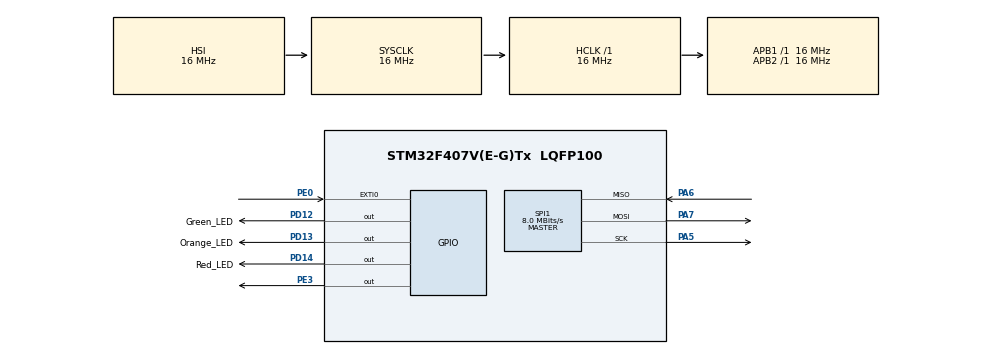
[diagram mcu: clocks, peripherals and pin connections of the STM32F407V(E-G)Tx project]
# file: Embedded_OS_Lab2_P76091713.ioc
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Mcu.Family=STM32F4
Mcu.Name=STM32F407V(E-G)Tx
Mcu.Package=LQFP100
NVIC.EXTI0_IRQn=true\:6\:0\:true\:false\:true\:true\:true
NVIC.PriorityGroup=NVIC_PRIORITYGROUP_4
NVIC.TIM6_DAC_IRQn=true\:0\:0\:false\:false\:true\:false\:true
NVIC.TimeBase=TIM6_DAC_IRQn
NVIC.TimeBaseIP=TIM6
PA13.Mode=Serial_Wire
PA13.Signal=SYS_JTMS-SWDIO
PA14.Mode=Serial_Wire
PA14.Signal=SYS_JTCK-SWCLK
PA5.Mode=Full_Duplex_Master
PA5.Signal=SPI1_SCK
PA6.Mode=Full_Duplex_Master
PA6.Signal=SPI1_MISO
PA7.Mode=Full_Duplex_Master
PA7.Signal=SPI1_MOSI
PD12.GPIO_Label=Green_LED
PD12.Signal=GPIO_Output
PD13.GPIO_Label=Orange_LED
PD13.Signal=GPIO_Output
PD14.GPIO_Label=Red_LED
PD14.Signal=GPIO_Output
PE0.Signal=GPXTI0
PE3.Signal=GPIO_Output
ProjectManager.HeapSize=0x200
ProjectManager.StackSize=0x400
ProjectManager.TargetToolchain=STM32CubeIDE
RCC.AHBFreq_Value=16000000
RCC.APB1Freq_Value=16000000
RCC.APB2Freq_Value=16000000
RCC.CortexFreq_Value=16000000
RCC.HSE_VALUE=25000000
RCC.HSI_VALUE=16000000
RCC.LSE_VALUE=32768
RCC.SYSCLKFreq_VALUE=16000000
RCC.VCOOutputFreq_Value=192000000
SPI1.CalculateBaudRate=8.0 MBits/s
SPI1.Direction=SPI_DIRECTION_2LINES
SPI1.Mode=SPI_MODE_MASTER
SPI1.VirtualType=VM_MASTER
VP_SYS_VS_tim6.Mode=TIM6
board=custom

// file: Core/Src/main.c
/* USER CODE BEGIN Header */
/**
  ******************************************************************************
  * @file           : main.c
  * @brief          : Main program body
  ******************************************************************************
  * @attention
  *
  * <h2><center>&copy; Copyright (c) 2021 STMicroelectronics.
  * All rights reserved.</center></h2>
  *
  * This software component is licensed by ST under BSD 3-Clause license,
  * the "License"; You may not use this file except in compliance with the
  * License. You may obtain a copy of the License at:
  *                        opensource.org/licenses/BSD-3-Clause
  *
  ******************************************************************************
  */
/* USER CODE END Header */
#include "main.h"

/* USER CODE BEGIN Includes */
#include "FreeRTOS.h"
#include "FreeRTOSConfig.h"
#include "task.h"
#include "semphr.h"
/* USER CODE END Includes */

/* USER CODE BEGIN PM */
#define LIS3DSH_WHO_AM_I_ADDR                0x0F
#define LIS3DSH_STAT_ADDR                    0x18
#define LIS3DSH_CTRL_REG4_ADDR               0x20
#define LIS3DSH_CTRL_REG1_ADDR               0x21
#define LIS3DSH_CTRL_REG2_ADDR               0x22
#define LIS3DSH_CTRL_REG3_ADDR               0x23
#define LIS3DSH_CTRL_REG5_ADDR               0x24
#define LIS3DSH_CTRL_REG6_ADDR               0x25

#define LIS3DSH_STATUS_ADDR                  0x27

#define LIS3DSH_OUT_X_L_ADDR                 0x28
#define LIS3DSH_OUT_X_H_ADDR                 0x29
#define LIS3DSH_OUT_Y_L_ADDR                 0x2A
#define LIS3DSH_OUT_Y_H_ADDR                 0x2B
#define LIS3DSH_OUT_Z_L_ADDR                 0x2C
#define LIS3DSH_OUT_Z_H_ADDR                 0x2D

#define LIS3DSH_ST1_1_ADDR                   0x40
#define LIS3DSH_ST1_2_ADDR                   0x41
#define LIS3DSH_THRS1_1_ADDR                 0x57
#define LIS3DSH_MASK1_B_ADDR                 0x59
#define LIS3DSH_MASK1_A_ADDR                 0x5A
#define LIS3DSH_SETT1_ADDR                   0x5B
/* USER CODE END PM */

SPI_HandleTypeDef hspi1;

/* USER CODE BEGIN PV */
SemaphoreHandle_t xSemaphore;
/* USER CODE END PV */

void SystemClock_Config(void);
static void MX_GPIO_Init(void);
static void MX_SPI1_Init(void);
/* USER CODE BEGIN PFP */
void GreenTask();
void OrangeTask();
/* USER CODE END PFP */

/* USER CODE BEGIN 0 */
void MEMS_Write(uint8_t addr, uint8_t data) {
	HAL_GPIO_WritePin(GPIOE, GPIO_PIN_3, GPIO_PIN_RESET);
	HAL_SPI_Transmit(&hspi1, &addr, 1, 10);
	HAL_SPI_Transmit(&hspi1, &data, 1, 10);
	HAL_GPIO_WritePin(GPIOE, GPIO_PIN_3, GPIO_PIN_SET);
	return;
}

void MEMS_Read(uint8_t addr, uint8_t *data) {
	addr |= 0x80;
	HAL_GPIO_WritePin(GPIOE, GPIO_PIN_3, GPIO_PIN_RESET);
	HAL_SPI_Transmit(&hspi1, &addr, 1, 10);
	HAL_SPI_Receive(&hspi1, data, 1, 10);
	HAL_GPIO_WritePin(GPIOE, GPIO_PIN_3, GPIO_PIN_SET);
	return;
}

void MEMS_Init() {
	MEMS_Write(LIS3DSH_CTRL_REG1_ADDR, 0x01);
	MEMS_Write(LIS3DSH_CTRL_REG3_ADDR, 0x48);
	MEMS_Write(LIS3DSH_CTRL_REG4_ADDR, 0x67);
	MEMS_Write(LIS3DSH_CTRL_REG5_ADDR, 0x00);
	MEMS_Write(LIS3DSH_THRS1_1_ADDR, 0x55);
	MEMS_Write(LIS3DSH_ST1_1_ADDR, 0x05);
	MEMS_Write(LIS3DSH_ST1_2_ADDR, 0x11);
	MEMS_Write(LIS3DSH_MASK1_B_ADDR, 0xFC);
	MEMS_Write(LIS3DSH_MASK1_A_ADDR, 0xFC);
	MEMS_Write(LIS3DSH_SETT1_ADDR, 0x01);
	return;
}
/* USER CODE END 0 */

int main(void)
{

  /* MCU Configuration--------------------------------------------------------*/

  /* Reset of all peripherals, Initializes the Flash interface and the Systick. */
  HAL_Init();

  /* Configure the system clock */
  SystemClock_Config();

  /* Initialize all configured peripherals */
  MX_GPIO_Init();
  MX_SPI1_Init();
  /* USER CODE BEGIN 2 */
  MEMS_Init();
  xSemaphore = xSemaphoreCreateBinary();
  xTaskCreate(GreenTask, "GreenTask", 1024, (void *)1, 1, NULL);
  xTaskCreate(OrangeTask, "OrangeTask", 1024, (void *)1, 2, NULL);
  vTaskStartScheduler();
  /* USER CODE END 2 */

  /* Infinite loop */
  while (1)
  {

  }
}

void SystemClock_Config(void)
{
  RCC_OscInitTypeDef RCC_OscInitStruct = {0};
  RCC_ClkInitTypeDef RCC_ClkInitStruct = {0};

  /** Configure the main internal regulator output voltage
  */
  __HAL_RCC_PWR_CLK_ENABLE();
  __HAL_PWR_VOLTAGESCALING_CONFIG(PWR_REGULATOR_VOLTAGE_SCALE1);
  /** Initializes the RCC Oscillators according to the specified parameters
  * in the RCC_OscInitTypeDef structure.
  */
  RCC_OscInitStruct.OscillatorType = RCC_OSCILLATORTYPE_HSI;
  RCC_OscInitStruct.HSIState = RCC_HSI_ON;
  RCC_OscInitStruct.HSICalibrationValue = RCC_HSICALIBRATION_DEFAULT;
  RCC_OscInitStruct.PLL.PLLState = RCC_PLL_NONE;
  if (HAL_RCC_OscConfig(&RCC_OscInitStruct) != HAL_OK)
  {
    Error_Handler();
  }
  /** Initializes the CPU, AHB and APB buses clocks
  */
  RCC_ClkInitStruct.ClockType = RCC_CLOCKTYPE_HCLK|RCC_CLOCKTYPE_SYSCLK
                              |RCC_CLOCKTYPE_PCLK1|RCC_CLOCKTYPE_PCLK2;
  RCC_ClkInitStruct.SYSCLKSource = RCC_SYSCLKSOURCE_HSI;
  RCC_ClkInitStruct.AHBCLKDivider = RCC_SYSCLK_DIV1;
  RCC_ClkInitStruct.APB1CLKDivider = RCC_HCLK_DIV1;
  RCC_ClkInitStruct.APB2CLKDivider = RCC_HCLK_DIV1;

  if (HAL_RCC_ClockConfig(&RCC_ClkInitStruct, FLASH_LATENCY_0) != HAL_OK)
  {
    Error_Handler();
  }
}

static void MX_SPI1_Init(void)
{

  /* SPI1 parameter configuration*/
  hspi1.Instance = SPI1;
  hspi1.Init.Mode = SPI_MODE_MASTER;
  hspi1.Init.Direction = SPI_DIRECTION_2LINES;
  hspi1.Init.DataSize = SPI_DATASIZE_8BIT;
  hspi1.Init.CLKPolarity = SPI_POLARITY_LOW;
  hspi1.Init.CLKPhase = SPI_PHASE_1EDGE;
  hspi1.Init.NSS = SPI_NSS_SOFT;
  hspi1.Init.BaudRatePrescaler = SPI_BAUDRATEPRESCALER_2;
  hspi1.Init.FirstBit = SPI_FIRSTBIT_MSB;
  hspi1.Init.TIMode = SPI_TIMODE_DISABLE;
  hspi1.Init.CRCCalculation = SPI_CRCCALCULATION_DISABLE;
  hspi1.Init.CRCPolynomial = 10;
  if (HAL_SPI_Init(&hspi1) != HAL_OK)
  {
    Error_Handler();
  }

}

static void MX_GPIO_Init(void)
{
  GPIO_InitTypeDef GPIO_InitStruct = {0};

  /* GPIO Ports Clock Enable */
  __HAL_RCC_GPIOE_CLK_ENABLE();
  __HAL_RCC_GPIOA_CLK_ENABLE();
  __HAL_RCC_GPIOD_CLK_ENABLE();

  /*Configure GPIO pin Output Level */
  HAL_GPIO_WritePin(GPIOE, GPIO_PIN_3, GPIO_PIN_RESET);

  /*Configure GPIO pin Output Level */
  HAL_GPIO_WritePin(GPIOD, Green_LED_Pin|Orange_LED_Pin|Red_LED_Pin, GPIO_PIN_RESET);

  /*Configure GPIO pin : PE3 */
  GPIO_InitStruct.Pin = GPIO_PIN_3;
  GPIO_InitStruct.Mode = GPIO_MODE_OUTPUT_PP;
  GPIO_InitStruct.Pull = GPIO_NOPULL;
  GPIO_InitStruct.Speed = GPIO_SPEED_FREQ_LOW;
  HAL_GPIO_Init(GPIOE, &GPIO_InitStruct);

  /*Configure GPIO pins : Green_LED_Pin Orange_LED_Pin Red_LED_Pin */
  GPIO_InitStruct.Pin = Green_LED_Pin|Orange_LED_Pin|Red_LED_Pin;
  GPIO_InitStruct.Mode = GPIO_MODE_OUTPUT_PP;
  GPIO_InitStruct.Pull = GPIO_NOPULL;
  GPIO_InitStruct.Speed = GPIO_SPEED_FREQ_LOW;
  HAL_GPIO_Init(GPIOD, &GPIO_InitStruct);

  /*Configure GPIO pin : PE0 */
  GPIO_InitStruct.Pin = GPIO_PIN_0;
  GPIO_InitStruct.Mode = GPIO_MODE_IT_RISING;
  GPIO_InitStruct.Pull = GPIO_NOPULL;
  HAL_GPIO_Init(GPIOE, &GPIO_InitStruct);

  /* EXTI interrupt init*/
  HAL_NVIC_SetPriority(EXTI0_IRQn, 6, 0);
  HAL_NVIC_EnableIRQ(EXTI0_IRQn);

}

/* USER CODE BEGIN 4 */
void GreenTask() {
	while (1) {
		HAL_GPIO_TogglePin(GPIOD, Green_LED_Pin);
		vTaskDelay(1000);
	}
}

void OrangeTask() {
	uint8_t data = 0;
	int i = 0;
	while (1) {
		if (xSemaphoreTake(xSemaphore, portMAX_DELAY) == pdTRUE) {
		    for (i = 0; i < 5; i++) {
			    HAL_GPIO_WritePin(GPIOD, Orange_LED_Pin, GPIO_PIN_SET);
			    vTaskDelay(1000);
			    HAL_GPIO_WritePin(GPIOD, Orange_LED_Pin, GPIO_PIN_RESET);
			    vTaskDelay(1000);
		    }
		  /*
		   * The sensor interrupt will only be executed once if
		   * you do not reset interrupt register
		   * or read “STAT (18h)” or “OUTS1 (5Fh)” register in interrupt handler.
		   */
		    MEMS_Read(0x5f, &data);
		}
	}
}

void HAL_GPIO_EXTI_Callback(uint16_t GPIO_Pin) {
    BaseType_t pxHigherPriorityTaskWoken = pdFALSE;
    // Red LED triggered
    HAL_GPIO_TogglePin(GPIOD, Red_LED_Pin);

    if (xSemaphoreGiveFromISR(xSemaphore, &pxHigherPriorityTaskWoken))
    	HAL_GPIO_WritePin(GPIOD, Green_LED_Pin, GPIO_PIN_RESET);
    // if pxHigherpriorityTaskWoken == pdTRUE, ask for context switch
    portYIELD_FROM_ISR(pxHigherPriorityTaskWoken);
}
/* USER CODE END 4 */

 /**
  * @brief  Period elapsed callback in non blocking mode
  * @note   This function is called  when TIM6 interrupt took place, inside
  * HAL_TIM_IRQHandler(). It makes a direct call to HAL_IncTick() to increment
  * a global variable "uwTick" used as application time base.
  * @param  htim : TIM handle
  * @retval None
  */
void HAL_TIM_PeriodElapsedCallback(TIM_HandleTypeDef *htim)
{
  if (htim->Instance == TIM6) {
    HAL_IncTick();
  }
}

void Error_Handler(void)
{
  __disable_irq();
  while (1)
  {
  }
}

/************************ (C) COPYRIGHT STMicroelectronics *****END OF FILE****/
